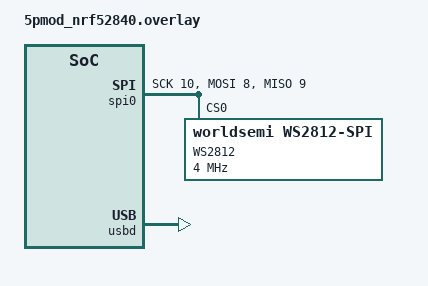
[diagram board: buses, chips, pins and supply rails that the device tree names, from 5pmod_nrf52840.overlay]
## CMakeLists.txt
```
cmake_minimum_required(VERSION 3.20.0)

# Generate compile_commands.json file
set(CMAKE_EXPORT_COMPILE_COMMANDS ON)

find_package(Zephyr REQUIRED HINTS $ENV{ZEPHYR_BASE})
project(smart_led)

# Target all '.c' files in src folder and include headers in 'include' folder
target_sources(app PRIVATE 
    src/main.c
)
zephyr_include_directories(include/)
```

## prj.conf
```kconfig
CONFIG_GPIO=y
CONFIG_REBOOT=y
CONFIG_LOG=y
CONFIG_SHELL=y
CONFIG_NFCT_PINS_AS_GPIOS=y

# Disable button reset
CONFIG_GPIO_AS_PINRESET=n

# WS2812 smart LED
CONFIG_SPI=y
CONFIG_LED_STRIP=y
CONFIG_LED_STRIP_LOG_LEVEL_DBG=y
CONFIG_WS2812_STRIP=y

# USB shell and log
CONFIG_USB_DEVICE_STACK=y
CONFIG_USB_DEVICE_PRODUCT="5PMOD-board application"
CONFIG_USB_UART_CONSOLE=y
CONFIG_UART_LINE_CTRL=y
CONFIG_SHELL_BACKEND_SERIAL_INIT_PRIORITY=51
```

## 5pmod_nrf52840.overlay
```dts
#include <dt-bindings/led/led.h>

/ {
	chosen {
		zephyr,console = &cdc_acm_uart0;
		zephyr,shell-uart = &cdc_acm_uart0;
	};

	aliases {
		smart-led = &smart_led;
	};
};

&spi0 {
	status = "okay";
	compatible = "nordic,nrf-spim";
	mosi-pin = <8>;
	miso-pin = <9>;
	sck-pin = <10>;

	smart_led: ws2812@0 {
		compatible = "worldsemi,ws2812-spi";
		label = "WS2812";

		/* SPI */
		reg = <0>; /* ignored, but necessary for SPI bindings */
		spi-max-frequency = <4000000>;

		/* WS2812 */
		chain-length = <1>; /* arbitrary; change at will */
		color-mapping = <LED_COLOR_ID_GREEN
				 LED_COLOR_ID_RED
				 LED_COLOR_ID_BLUE>;
		spi-one-frame = <0x70>;
		spi-zero-frame = <0x40>;
	};
};

&usbd {
	status = "okay";
	cdc_acm_uart0: cdc_acm_uart0 {
		compatible = "zephyr,cdc-acm-uart";
		label = "CDC_ACM_0";
	};
};
```

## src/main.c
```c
#define LOG_LEVEL 4
#include <logging/log.h>
LOG_MODULE_REGISTER(smartled);

#include <zephyr.h>
#include <device.h>
#include <devicetree.h>
#include <drivers/gpio.h>
#include <drivers/led_strip.h>
#include <drivers/uart.h>
#include <usb/usb_device.h>

/* 1000 msec = 1 sec */
#define SLEEP_TIME_MS 100

/* Smart LED */
#define SMART_LED_NODE DT_ALIAS(smart_led)
#define RGB(_r, _g, _b) {.r = (_r), .g = (_g), .b = (_b)}

static const struct led_rgb colors[] = {
	RGB(0x0f, 0x00, 0x00), /* red */
	RGB(0x00, 0x0f, 0x00), /* green */
	RGB(0x00, 0x00, 0x0f), /* blue */
};

struct led_rgb pixel;

static const struct device *smart_led = DEVICE_DT_GET(SMART_LED_NODE);

void main(void)
{
	int ret;
	size_t color = 0;
	const struct device *dev;

	dev = DEVICE_DT_GET(DT_CHOSEN(zephyr_shell_uart));
	if (!device_is_ready(dev) || usb_enable(NULL)) {
	}

	if (device_is_ready(smart_led)) {
		LOG_INF("Found smart LED device %s", smart_led->name);
	} else {
		LOG_ERR("Smart LED device %s is not ready", smart_led->name);
		return;
	}

	while (1) {

		memcpy(&pixel, &colors[color], sizeof(struct led_rgb));
		ret = led_strip_update_rgb(smart_led, &pixel, 1);

		if (ret) {
			LOG_ERR("couldn't update smart LED: %d", ret);
		}

		color++;
		if (color == ARRAY_SIZE(colors)) {
			color = 0;
		}

		k_msleep(SLEEP_TIME_MS);
	}
}
```
